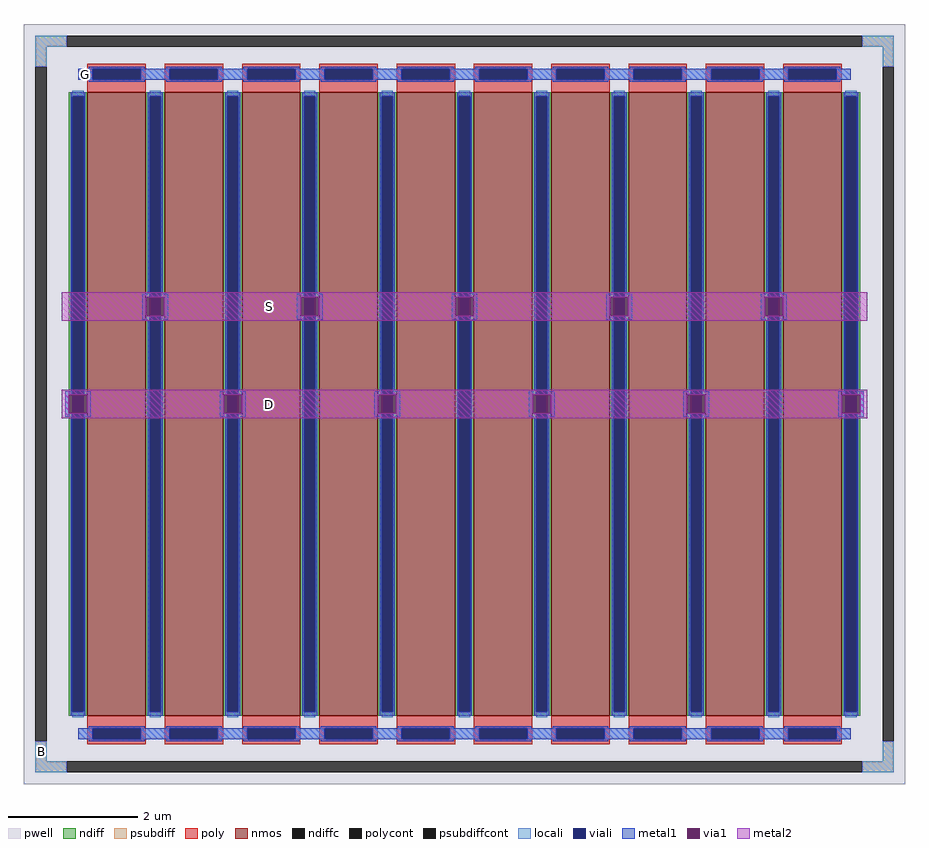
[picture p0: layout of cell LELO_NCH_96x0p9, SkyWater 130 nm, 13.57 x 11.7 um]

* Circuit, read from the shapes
.subckt LELO_NCH_96x0p9 D G S B
XM1 S G D B sky130_fd_pr__nfet_01v8 w=9.6 l=0.9 m=10
.ends

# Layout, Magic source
magic
tech sky130A
magscale 1 2
<< pwell >>
rect -1357 -1170 1357 1170
<< nmos >>
rect -1161 -960 -981 960
rect -923 -960 -743 960
rect -685 -960 -505 960
rect -447 -960 -267 960
rect -209 -960 -29 960
rect 29 -960 209 960
rect 267 -960 447 960
rect 505 -960 685 960
rect 743 -960 923 960
rect 981 -960 1161 960
<< ndiff >>
rect -1219 948 -1161 960
rect -1219 -948 -1207 948
rect -1173 -948 -1161 948
rect -1219 -960 -1161 -948
rect -981 948 -923 960
rect -981 -948 -969 948
rect -935 -948 -923 948
rect -981 -960 -923 -948
rect -743 948 -685 960
rect -743 -948 -731 948
rect -697 -948 -685 948
rect -743 -960 -685 -948
rect -505 948 -447 960
rect -505 -948 -493 948
rect -459 -948 -447 948
rect -505 -960 -447 -948
rect -267 948 -209 960
rect -267 -948 -255 948
rect -221 -948 -209 948
rect -267 -960 -209 -948
rect -29 948 29 960
rect -29 -948 -17 948
rect 17 -948 29 948
rect -29 -960 29 -948
rect 209 948 267 960
rect 209 -948 221 948
rect 255 -948 267 948
rect 209 -960 267 -948
rect 447 948 505 960
rect 447 -948 459 948
rect 493 -948 505 948
rect 447 -960 505 -948
rect 685 948 743 960
rect 685 -948 697 948
rect 731 -948 743 948
rect 685 -960 743 -948
rect 923 948 981 960
rect 923 -948 935 948
rect 969 -948 981 948
rect 923 -960 981 -948
rect 1161 948 1219 960
rect 1161 -948 1173 948
rect 1207 -948 1219 948
rect 1161 -960 1219 -948
<< ndiffc >>
rect -1207 -948 -1173 948
rect -969 -948 -935 948
rect -731 -948 -697 948
rect -493 -948 -459 948
rect -255 -948 -221 948
rect -17 -948 17 948
rect 221 -948 255 948
rect 459 -948 493 948
rect 697 -948 731 948
rect 935 -948 969 948
rect 1173 -948 1207 948
<< psubdiff >>
rect -1321 1100 -1225 1134
rect 1225 1100 1321 1134
rect -1321 1038 -1287 1100
rect 1287 1038 1321 1100
rect -1321 -1100 -1287 -1038
rect 1287 -1100 1321 -1038
rect -1321 -1134 -1225 -1100
rect 1225 -1134 1321 -1100
<< psubdiffcont >>
rect -1225 1100 1225 1134
rect -1321 -1038 -1287 1038
rect 1287 -1038 1321 1038
rect -1225 -1134 1225 -1100
<< poly >>
rect -1161 1032 -981 1048
rect -1161 998 -1145 1032
rect -997 998 -981 1032
rect -1161 960 -981 998
rect -923 1032 -743 1048
rect -923 998 -907 1032
rect -759 998 -743 1032
rect -923 960 -743 998
rect -685 1032 -505 1048
rect -685 998 -669 1032
rect -521 998 -505 1032
rect -685 960 -505 998
rect -447 1032 -267 1048
rect -447 998 -431 1032
rect -283 998 -267 1032
rect -447 960 -267 998
rect -209 1032 -29 1048
rect -209 998 -193 1032
rect -45 998 -29 1032
rect -209 960 -29 998
rect 29 1032 209 1048
rect 29 998 45 1032
rect 193 998 209 1032
rect 29 960 209 998
rect 267 1032 447 1048
rect 267 998 283 1032
rect 431 998 447 1032
rect 267 960 447 998
rect 505 1032 685 1048
rect 505 998 521 1032
rect 669 998 685 1032
rect 505 960 685 998
rect 743 1032 923 1048
rect 743 998 759 1032
rect 907 998 923 1032
rect 743 960 923 998
rect 981 1032 1161 1048
rect 981 998 997 1032
rect 1145 998 1161 1032
rect 981 960 1161 998
rect -1161 -998 -981 -960
rect -1161 -1032 -1145 -998
rect -997 -1032 -981 -998
rect -1161 -1048 -981 -1032
rect -923 -998 -743 -960
rect -923 -1032 -907 -998
rect -759 -1032 -743 -998
rect -923 -1048 -743 -1032
rect -685 -998 -505 -960
rect -685 -1032 -669 -998
rect -521 -1032 -505 -998
rect -685 -1048 -505 -1032
rect -447 -998 -267 -960
rect -447 -1032 -431 -998
rect -283 -1032 -267 -998
rect -447 -1048 -267 -1032
rect -209 -998 -29 -960
rect -209 -1032 -193 -998
rect -45 -1032 -29 -998
rect -209 -1048 -29 -1032
rect 29 -998 209 -960
rect 29 -1032 45 -998
rect 193 -1032 209 -998
rect 29 -1048 209 -1032
rect 267 -998 447 -960
rect 267 -1032 283 -998
rect 431 -1032 447 -998
rect 267 -1048 447 -1032
rect 505 -998 685 -960
rect 505 -1032 521 -998
rect 669 -1032 685 -998
rect 505 -1048 685 -1032
rect 743 -998 923 -960
rect 743 -1032 759 -998
rect 907 -1032 923 -998
rect 743 -1048 923 -1032
rect 981 -998 1161 -960
rect 981 -1032 997 -998
rect 1145 -1032 1161 -998
rect 981 -1048 1161 -1032
<< polycont >>
rect -1145 998 -997 1032
rect -907 998 -759 1032
rect -669 998 -521 1032
rect -431 998 -283 1032
rect -193 998 -45 1032
rect 45 998 193 1032
rect 283 998 431 1032
rect 521 998 669 1032
rect 759 998 907 1032
rect 997 998 1145 1032
rect -1145 -1032 -997 -998
rect -907 -1032 -759 -998
rect -669 -1032 -521 -998
rect -431 -1032 -283 -998
rect -193 -1032 -45 -998
rect 45 -1032 193 -998
rect 283 -1032 431 -998
rect 521 -1032 669 -998
rect 759 -1032 907 -998
rect 997 -1032 1145 -998
<< locali >>
rect -1321 1100 -1225 1134
rect 1225 1100 1321 1134
rect -1321 1038 -1287 1100
rect 1287 1038 1321 1100
rect -1190 998 -1145 1032
rect -997 998 -907 1032
rect -759 998 -669 1032
rect -521 998 -431 1032
rect -283 998 -193 1032
rect -45 998 45 1032
rect 193 998 283 1032
rect 431 998 521 1032
rect 669 998 759 1032
rect 907 998 997 1032
rect 1145 998 1190 1032
rect -1207 948 -1173 964
rect -1207 -964 -1173 -948
rect -969 948 -935 964
rect -969 -964 -935 -948
rect -731 948 -697 964
rect -731 -964 -697 -948
rect -493 948 -459 964
rect -493 -964 -459 -948
rect -255 948 -221 964
rect -255 -964 -221 -948
rect -17 948 17 964
rect -17 -964 17 -948
rect 221 948 255 964
rect 221 -964 255 -948
rect 459 948 493 964
rect 459 -964 493 -948
rect 697 948 731 964
rect 697 -964 731 -948
rect 935 948 969 964
rect 935 -964 969 -948
rect 1173 948 1207 964
rect 1173 -964 1207 -948
rect -1190 -1032 -1145 -998
rect -997 -1032 -907 -998
rect -759 -1032 -669 -998
rect -521 -1032 -431 -998
rect -283 -1032 -193 -998
rect -45 -1032 45 -998
rect 193 -1032 283 -998
rect 431 -1032 521 -998
rect 669 -1032 759 -998
rect 907 -1032 997 -998
rect 1145 -1032 1190 -998
rect -1321 -1100 -1287 -1038
rect 1287 -1100 1321 -1038
rect -1321 -1134 -1225 -1100
rect 1225 -1134 1321 -1100
<< viali >>
rect -1145 998 -997 1032
rect -907 998 -759 1032
rect -669 998 -521 1032
rect -431 998 -283 1032
rect -193 998 -45 1032
rect 45 998 193 1032
rect 283 998 431 1032
rect 521 998 669 1032
rect 759 998 907 1032
rect 997 998 1145 1032
rect -1207 -948 -1173 948
rect -969 -948 -935 948
rect -731 -948 -697 948
rect -493 -948 -459 948
rect -255 -948 -221 948
rect -17 -948 17 948
rect 221 -948 255 948
rect 459 -948 493 948
rect 697 -948 731 948
rect 935 -948 969 948
rect 1173 -948 1207 948
rect -1145 -1032 -997 -998
rect -907 -1032 -759 -998
rect -669 -1032 -521 -998
rect -431 -1032 -283 -998
rect -193 -1032 -45 -998
rect 45 -1032 193 -998
rect 283 -1032 431 -998
rect 521 -1032 669 -998
rect 759 -1032 907 -998
rect 997 -1032 1145 -998
<< metal1 >>
rect -1157 1032 -985 1038
rect -919 1032 -747 1038
rect -681 1032 -509 1038
rect -443 1032 -271 1038
rect -205 1032 -33 1038
rect 33 1032 205 1038
rect 271 1032 443 1038
rect 509 1032 681 1038
rect 747 1032 919 1038
rect 985 1032 1157 1038
rect -1190 998 -1145 1032
rect -997 998 -907 1032
rect -759 998 -669 1032
rect -521 998 -431 1032
rect -283 998 -193 1032
rect -45 998 45 1032
rect 193 998 283 1032
rect 431 998 521 1032
rect 669 998 759 1032
rect 907 998 997 1032
rect 1145 998 1190 1032
rect -1157 992 -985 998
rect -919 992 -747 998
rect -681 992 -509 998
rect -443 992 -271 998
rect -205 992 -33 998
rect 33 992 205 998
rect 271 992 443 998
rect 509 992 681 998
rect 747 992 919 998
rect 985 992 1157 998
rect -1213 948 -1167 960
rect -1213 40 -1207 948
rect -1230 28 -1207 40
rect -1173 40 -1167 948
rect -975 948 -929 960
rect -975 340 -969 948
rect -992 328 -969 340
rect -935 340 -929 948
rect -737 948 -691 960
rect -935 328 -912 340
rect -992 272 -980 328
rect -924 272 -912 328
rect -992 260 -969 272
rect -1173 28 -1150 40
rect -1230 -28 -1218 28
rect -1162 -28 -1150 28
rect -1230 -40 -1207 -28
rect -1213 -948 -1207 -40
rect -1173 -40 -1150 -28
rect -1173 -948 -1167 -40
rect -1213 -960 -1167 -948
rect -975 -948 -969 260
rect -935 260 -912 272
rect -935 -948 -929 260
rect -737 40 -731 948
rect -754 28 -731 40
rect -697 40 -691 948
rect -499 948 -453 960
rect -499 340 -493 948
rect -516 328 -493 340
rect -459 340 -453 948
rect -261 948 -215 960
rect -459 328 -436 340
rect -516 272 -504 328
rect -448 272 -436 328
rect -516 260 -493 272
rect -697 28 -674 40
rect -754 -28 -742 28
rect -686 -28 -674 28
rect -754 -40 -731 -28
rect -975 -960 -929 -948
rect -737 -948 -731 -40
rect -697 -40 -674 -28
rect -697 -948 -691 -40
rect -737 -960 -691 -948
rect -499 -948 -493 260
rect -459 260 -436 272
rect -459 -948 -453 260
rect -261 40 -255 948
rect -278 28 -255 40
rect -221 40 -215 948
rect -23 948 23 960
rect -23 340 -17 948
rect -40 328 -17 340
rect 17 340 23 948
rect 215 948 261 960
rect 17 328 40 340
rect -40 272 -28 328
rect 28 272 40 328
rect -40 260 -17 272
rect -221 28 -198 40
rect -278 -28 -266 28
rect -210 -28 -198 28
rect -278 -40 -255 -28
rect -499 -960 -453 -948
rect -261 -948 -255 -40
rect -221 -40 -198 -28
rect -221 -948 -215 -40
rect -261 -960 -215 -948
rect -23 -948 -17 260
rect 17 260 40 272
rect 17 -948 23 260
rect 215 40 221 948
rect 198 28 221 40
rect 255 40 261 948
rect 453 948 499 960
rect 453 340 459 948
rect 436 328 459 340
rect 493 340 499 948
rect 691 948 737 960
rect 493 328 516 340
rect 436 272 448 328
rect 504 272 516 328
rect 436 260 459 272
rect 255 28 278 40
rect 198 -28 210 28
rect 266 -28 278 28
rect 198 -40 221 -28
rect -23 -960 23 -948
rect 215 -948 221 -40
rect 255 -40 278 -28
rect 255 -948 261 -40
rect 215 -960 261 -948
rect 453 -948 459 260
rect 493 260 516 272
rect 493 -948 499 260
rect 691 40 697 948
rect 674 28 697 40
rect 731 40 737 948
rect 929 948 975 960
rect 929 340 935 948
rect 912 328 935 340
rect 969 340 975 948
rect 1167 948 1213 960
rect 969 328 992 340
rect 912 272 924 328
rect 980 272 992 328
rect 912 260 935 272
rect 731 28 754 40
rect 674 -28 686 28
rect 742 -28 754 28
rect 674 -40 697 -28
rect 453 -960 499 -948
rect 691 -948 697 -40
rect 731 -40 754 -28
rect 731 -948 737 -40
rect 691 -960 737 -948
rect 929 -948 935 260
rect 969 260 992 272
rect 969 -948 975 260
rect 1167 40 1173 948
rect 1150 28 1173 40
rect 1207 40 1213 948
rect 1207 28 1230 40
rect 1150 -28 1162 28
rect 1218 -28 1230 28
rect 1150 -40 1173 -28
rect 929 -960 975 -948
rect 1167 -948 1173 -40
rect 1207 -40 1230 -28
rect 1207 -948 1213 -40
rect 1167 -960 1213 -948
rect -1157 -998 -985 -992
rect -919 -998 -747 -992
rect -681 -998 -509 -992
rect -443 -998 -271 -992
rect -205 -998 -33 -992
rect 33 -998 205 -992
rect 271 -998 443 -992
rect 509 -998 681 -992
rect 747 -998 919 -992
rect 985 -998 1157 -992
rect -1190 -1032 -1145 -998
rect -997 -1032 -907 -998
rect -759 -1032 -669 -998
rect -521 -1032 -431 -998
rect -283 -1032 -193 -998
rect -45 -1032 45 -998
rect 193 -1032 283 -998
rect 431 -1032 521 -998
rect 669 -1032 759 -998
rect 907 -1032 997 -998
rect 1145 -1032 1190 -998
rect -1157 -1038 -985 -1032
rect -919 -1038 -747 -1032
rect -681 -1038 -509 -1032
rect -443 -1038 -271 -1032
rect -205 -1038 -33 -1032
rect 33 -1038 205 -1032
rect 271 -1038 443 -1032
rect 509 -1038 681 -1032
rect 747 -1038 919 -1032
rect 985 -1038 1157 -1032
<< via1 >>
rect -980 272 -969 328
rect -969 272 -935 328
rect -935 272 -924 328
rect -1218 -28 -1207 28
rect -1207 -28 -1173 28
rect -1173 -28 -1162 28
rect -504 272 -493 328
rect -493 272 -459 328
rect -459 272 -448 328
rect -742 -28 -731 28
rect -731 -28 -697 28
rect -697 -28 -686 28
rect -28 272 -17 328
rect -17 272 17 328
rect 17 272 28 328
rect -266 -28 -255 28
rect -255 -28 -221 28
rect -221 -28 -210 28
rect 448 272 459 328
rect 459 272 493 328
rect 493 272 504 328
rect 210 -28 221 28
rect 221 -28 255 28
rect 255 -28 266 28
rect 924 272 935 328
rect 935 272 969 328
rect 969 272 980 328
rect 686 -28 697 28
rect 697 -28 731 28
rect 731 -28 742 28
rect 1162 -28 1173 28
rect 1173 -28 1207 28
rect 1207 -28 1218 28
<< metal2 >>
rect -1240 328 1240 344
rect -1240 272 -980 328
rect -924 272 -504 328
rect -448 272 -28 328
rect 28 272 448 328
rect 504 272 924 328
rect 980 272 1240 328
rect -1240 256 1240 272
rect -1240 28 1240 44
rect -1240 -28 -1218 28
rect -1162 -28 -742 28
rect -686 -28 -266 28
rect -210 -28 210 28
rect 266 -28 686 28
rect 742 -28 1162 28
rect 1218 -28 1240 28
rect -1240 -44 1240 -28
<< labels >>
rlabel metal2 -620 -28 -580 28 5 D
port 1 s
rlabel metal1 -1180 1004 -1156 1024 5 G
port 2 s
rlabel metal2 -620 284 -580 316 5 S
port 3 s
rlabel locali -1310 -1090 -1296 -1050 5 B
port 4 s
<< properties >>
string FIXED_BBOX -1304 -1117 1304 1117
<< end >>
